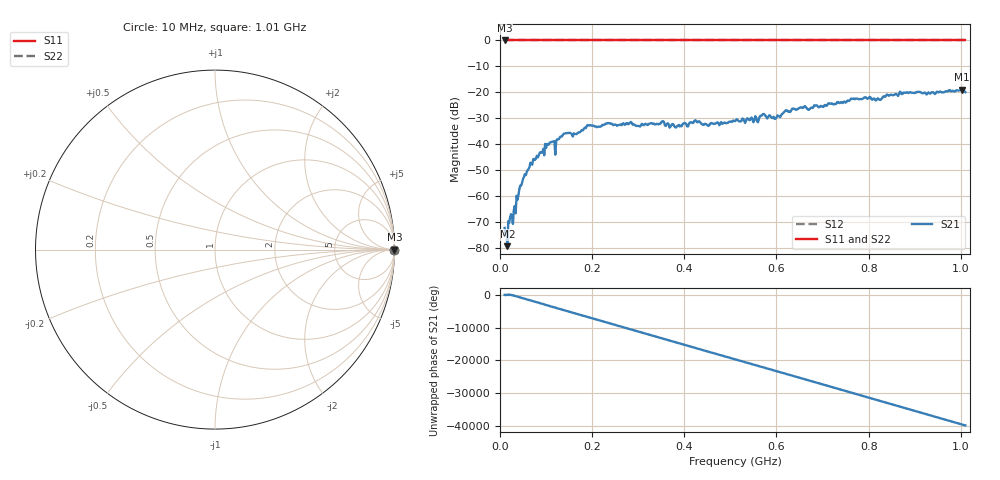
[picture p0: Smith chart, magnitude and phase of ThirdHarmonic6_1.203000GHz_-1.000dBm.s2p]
! 8/16/2025 12:28:38 PM
! C:\ANRITSUVNA\TEMP\TEMP.S2P
! CHANNEL.1
! TR.MEASUREMENT
! RAW.DATA
! RF.CORRECTION.OFF
! AVERAGING.OFF
! IF.BANDWIDTH: 5KHZ
! SWEEPTYPE:  FREQ.SWEEP(Linear)
! Reference Plane Port Info
! PORT:  PORT1  PORT2
! DISTANCE:  0  m  0  m
! TIME:  0  s  0  s
! PHASE.OFFSET:  0  deg.  0  deg.
! LOSS:  0  dB  0  dB
! REF.LOSS:  0  dB  0  dB
! REF.FREQ:  0  Hz  0  Hz
! Power Info
! POWER:  -20  dBm  -20  dBm
! EFF.POWER:  -20  dBm  -20  dBm
! SOURCE.ATTEN:  0  dB  0  dB
! TEST.ATTEN:  0  dB  0  dB
# GHZ S RI R 50.0
! FREQ.GHZ  S11RE  S11IM  S21RE  S21IM  S12RE  S12IM  S22RE  S22IM
!; PortSelection: Port_12
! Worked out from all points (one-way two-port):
!   501 points, 10 MHz to 1.01 GHz, reference 50 ohm
!   highest |S21| = -18.95 dB at 1.002 GHz (marker M1); lowest = -79.3 dB at 16 MHz (marker M2)
!   lowest |S11| = 0.0 dB at 10 MHz (marker M3)
!   |S11| at or under -10 dB: nowhere
!   |S22| runs from 0.0 to 0.0 dB; largest |S21 - S12| = 1.1
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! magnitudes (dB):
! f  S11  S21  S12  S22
! 10 MHz  0.0  -72.3  0.0  0.0
! 16 MHz  0.0  -79.3  0.0  0.0
! 22 MHz  0.0  -68.0  0.0  0.0
! 30 MHz  0.0  -65.4  0.0  0.0
! 46 MHz  0.0  -55.9  0.0  0.0
! 70 MHz  0.0  -47.9  0.0  0.0
! 106 MHz  0.0  -40.1  0.0  0.0
! 124 MHz  0.0  -38.1  0.0  0.0
! 142 MHz  0.0  -35.8  0.0  0.0
! 178 MHz  0.0  -34.5  0.0  0.0
! 234 MHz  0.0  -31.9  0.0  0.0
! 344 MHz  0.0  -32.3  0.0  0.0
! 382 MHz  0.0  -33.6  0.0  0.0
! 510 MHz  0.0  -31.1  0.0  0.0
! 560 MHz  0.0  -31.5  0.0  0.0
! 570 MHz  0.0  -28.5  0.0  0.0
! 596 MHz  0.0  -30.3  0.0  0.0
! 620 MHz  0.0  -26.9  0.0  0.0
! 678 MHz  0.0  -26.1  0.0  0.0
! 844 MHz  0.0  -21.3  0.0  0.0
! 1.002 GHz  0.0  -18.9  0.0  0.0
! 1.01 GHz  0.0  -20.0  0.0  0.0
